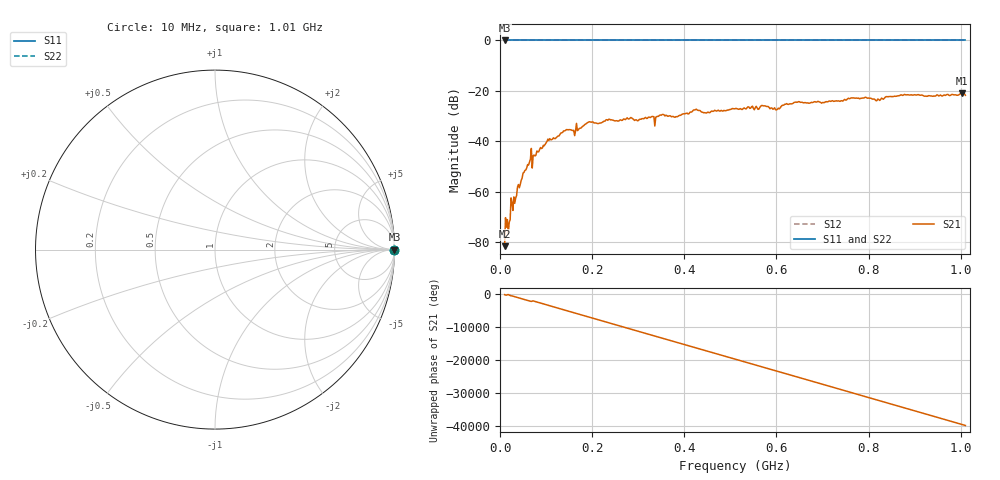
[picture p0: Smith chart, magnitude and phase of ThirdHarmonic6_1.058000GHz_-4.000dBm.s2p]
! 8/16/2025 9:26:02 AM
! C:\ANRITSUVNA\TEMP\TEMP.S2P
! CHANNEL.1
! TR.MEASUREMENT
! RAW.DATA
! RF.CORRECTION.OFF
! AVERAGING.OFF
! IF.BANDWIDTH: 5KHZ
! SWEEPTYPE:  FREQ.SWEEP(Linear)
! Reference Plane Port Info
! PORT:  PORT1  PORT2
! DISTANCE:  0  m  0  m
! TIME:  0  s  0  s
! PHASE.OFFSET:  0  deg.  0  deg.
! LOSS:  0  dB  0  dB
! REF.LOSS:  0  dB  0  dB
! REF.FREQ:  0  Hz  0  Hz
! Power Info
! POWER:  -20  dBm  -20  dBm
! EFF.POWER:  -20  dBm  -20  dBm
! SOURCE.ATTEN:  0  dB  0  dB
! TEST.ATTEN:  0  dB  0  dB
# GHZ S RI R 50.0
! FREQ.GHZ  S11RE  S11IM  S21RE  S21IM  S12RE  S12IM  S22RE  S22IM
!; PortSelection: Port_12
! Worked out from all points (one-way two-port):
!   501 points, 10 MHz to 1.01 GHz, reference 50 ohm
!   highest |S21| = -20.96 dB at 1.002 GHz (marker M1); lowest = -81.5 dB at 10 MHz (marker M2)
!   lowest |S11| = 0.0 dB at 10 MHz (marker M3)
!   |S11| at or under -10 dB: nowhere
!   |S22| runs from 0.0 to 0.0 dB; largest |S21 - S12| = 1.1
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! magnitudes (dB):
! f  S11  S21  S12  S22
! 10 MHz  0.0  -81.5  0.0  0.0
! 16 MHz  0.0  -71.0  0.0  0.0
! 18 MHz  0.0  -76.8  0.0  0.0
! 28 MHz  0.0  -67.4  0.0  0.0
! 32 MHz  0.0  -64.5  0.0  0.0
! 42 MHz  0.0  -58.4  0.0  0.0
! 64 MHz  0.0  -48.2  0.0  0.0
! 74 MHz  0.0  -45.4  0.0  0.0
! 106 MHz  0.0  -39.7  0.0  0.0
! 142 MHz  0.0  -35.7  0.0  0.0
! 160 MHz  0.0  -35.6  0.0  0.0
! 178 MHz  0.0  -34.2  0.0  0.0
! 196 MHz  0.0  -32.3  0.0  0.0
! 344 MHz  0.0  -30.1  0.0  0.0
! 510 MHz  0.0  -27.1  0.0  0.0
! 572 MHz  0.0  -26.0  0.0  0.0
! 602 MHz  0.0  -27.3  0.0  0.0
! 642 MHz  0.0  -24.4  0.0  0.0
! 678 MHz  0.0  -24.6  0.0  0.0
! 844 MHz  0.0  -22.2  0.0  0.0
! 1.002 GHz  0.0  -21.0  0.0  0.0
! 1.01 GHz  0.0  -21.7  0.0  0.0
